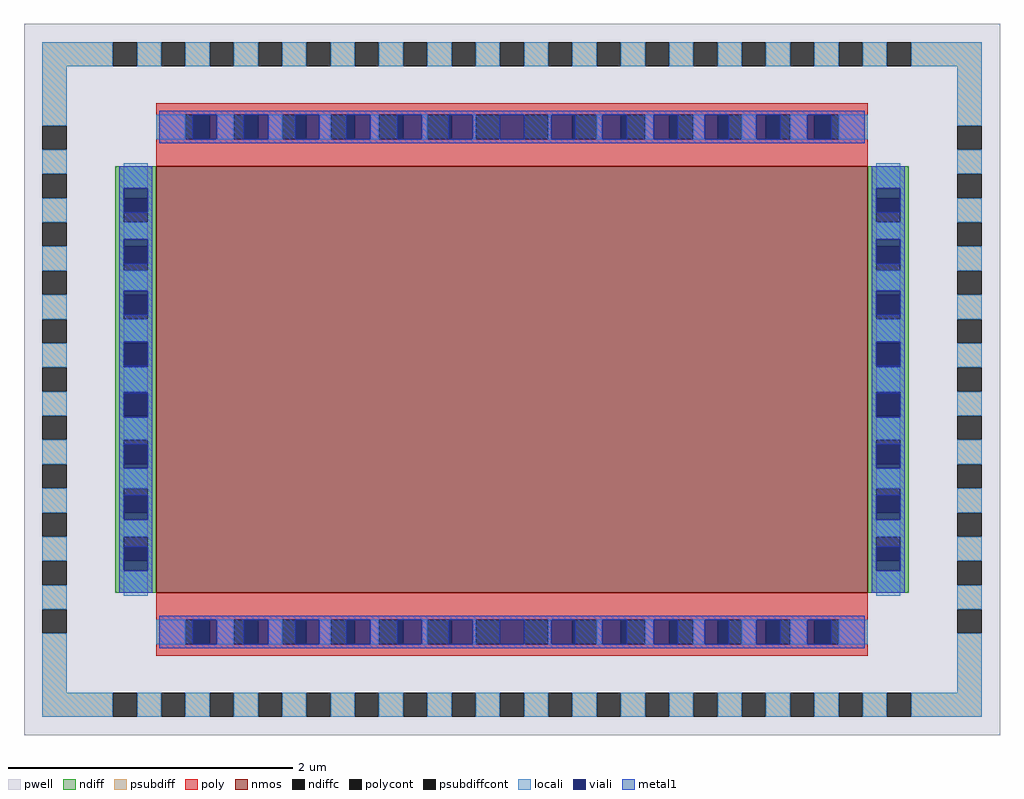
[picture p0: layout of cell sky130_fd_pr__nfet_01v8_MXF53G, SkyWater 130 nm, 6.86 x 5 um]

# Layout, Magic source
magic
tech sky130A
magscale 1 2
<< pwell >>
rect -686 -500 686 500
<< nmos >>
rect -500 -300 500 300
<< ndiff >>
rect -558 255 -500 300
rect -558 221 -546 255
rect -512 221 -500 255
rect -558 187 -500 221
rect -558 153 -546 187
rect -512 153 -500 187
rect -558 119 -500 153
rect -558 85 -546 119
rect -512 85 -500 119
rect -558 51 -500 85
rect -558 17 -546 51
rect -512 17 -500 51
rect -558 -17 -500 17
rect -558 -51 -546 -17
rect -512 -51 -500 -17
rect -558 -85 -500 -51
rect -558 -119 -546 -85
rect -512 -119 -500 -85
rect -558 -153 -500 -119
rect -558 -187 -546 -153
rect -512 -187 -500 -153
rect -558 -221 -500 -187
rect -558 -255 -546 -221
rect -512 -255 -500 -221
rect -558 -300 -500 -255
rect 500 255 558 300
rect 500 221 512 255
rect 546 221 558 255
rect 500 187 558 221
rect 500 153 512 187
rect 546 153 558 187
rect 500 119 558 153
rect 500 85 512 119
rect 546 85 558 119
rect 500 51 558 85
rect 500 17 512 51
rect 546 17 558 51
rect 500 -17 558 17
rect 500 -51 512 -17
rect 546 -51 558 -17
rect 500 -85 558 -51
rect 500 -119 512 -85
rect 546 -119 558 -85
rect 500 -153 558 -119
rect 500 -187 512 -153
rect 546 -187 558 -153
rect 500 -221 558 -187
rect 500 -255 512 -221
rect 546 -255 558 -221
rect 500 -300 558 -255
<< ndiffc >>
rect -546 221 -512 255
rect -546 153 -512 187
rect -546 85 -512 119
rect -546 17 -512 51
rect -546 -51 -512 -17
rect -546 -119 -512 -85
rect -546 -187 -512 -153
rect -546 -255 -512 -221
rect 512 221 546 255
rect 512 153 546 187
rect 512 85 546 119
rect 512 17 546 51
rect 512 -51 546 -17
rect 512 -119 546 -85
rect 512 -187 546 -153
rect 512 -255 546 -221
<< psubdiff >>
rect -660 440 -561 474
rect -527 440 -493 474
rect -459 440 -425 474
rect -391 440 -357 474
rect -323 440 -289 474
rect -255 440 -221 474
rect -187 440 -153 474
rect -119 440 -85 474
rect -51 440 -17 474
rect 17 440 51 474
rect 85 440 119 474
rect 153 440 187 474
rect 221 440 255 474
rect 289 440 323 474
rect 357 440 391 474
rect 425 440 459 474
rect 493 440 527 474
rect 561 440 660 474
rect -660 357 -626 440
rect -660 289 -626 323
rect 626 357 660 440
rect -660 221 -626 255
rect -660 153 -626 187
rect -660 85 -626 119
rect -660 17 -626 51
rect -660 -51 -626 -17
rect -660 -119 -626 -85
rect -660 -187 -626 -153
rect -660 -255 -626 -221
rect -660 -323 -626 -289
rect 626 289 660 323
rect 626 221 660 255
rect 626 153 660 187
rect 626 85 660 119
rect 626 17 660 51
rect 626 -51 660 -17
rect 626 -119 660 -85
rect 626 -187 660 -153
rect 626 -255 660 -221
rect -660 -440 -626 -357
rect 626 -323 660 -289
rect 626 -440 660 -357
rect -660 -474 -561 -440
rect -527 -474 -493 -440
rect -459 -474 -425 -440
rect -391 -474 -357 -440
rect -323 -474 -289 -440
rect -255 -474 -221 -440
rect -187 -474 -153 -440
rect -119 -474 -85 -440
rect -51 -474 -17 -440
rect 17 -474 51 -440
rect 85 -474 119 -440
rect 153 -474 187 -440
rect 221 -474 255 -440
rect 289 -474 323 -440
rect 357 -474 391 -440
rect 425 -474 459 -440
rect 493 -474 527 -440
rect 561 -474 660 -440
<< psubdiffcont >>
rect -561 440 -527 474
rect -493 440 -459 474
rect -425 440 -391 474
rect -357 440 -323 474
rect -289 440 -255 474
rect -221 440 -187 474
rect -153 440 -119 474
rect -85 440 -51 474
rect -17 440 17 474
rect 51 440 85 474
rect 119 440 153 474
rect 187 440 221 474
rect 255 440 289 474
rect 323 440 357 474
rect 391 440 425 474
rect 459 440 493 474
rect 527 440 561 474
rect -660 323 -626 357
rect 626 323 660 357
rect -660 255 -626 289
rect -660 187 -626 221
rect -660 119 -626 153
rect -660 51 -626 85
rect -660 -17 -626 17
rect -660 -85 -626 -51
rect -660 -153 -626 -119
rect -660 -221 -626 -187
rect -660 -289 -626 -255
rect 626 255 660 289
rect 626 187 660 221
rect 626 119 660 153
rect 626 51 660 85
rect 626 -17 660 17
rect 626 -85 660 -51
rect 626 -153 660 -119
rect 626 -221 660 -187
rect 626 -289 660 -255
rect -660 -357 -626 -323
rect 626 -357 660 -323
rect -561 -474 -527 -440
rect -493 -474 -459 -440
rect -425 -474 -391 -440
rect -357 -474 -323 -440
rect -289 -474 -255 -440
rect -221 -474 -187 -440
rect -153 -474 -119 -440
rect -85 -474 -51 -440
rect -17 -474 17 -440
rect 51 -474 85 -440
rect 119 -474 153 -440
rect 187 -474 221 -440
rect 255 -474 289 -440
rect 323 -474 357 -440
rect 391 -474 425 -440
rect 459 -474 493 -440
rect 527 -474 561 -440
<< poly >>
rect -500 372 500 388
rect -500 338 -459 372
rect -425 338 -391 372
rect -357 338 -323 372
rect -289 338 -255 372
rect -221 338 -187 372
rect -153 338 -119 372
rect -85 338 -51 372
rect -17 338 17 372
rect 51 338 85 372
rect 119 338 153 372
rect 187 338 221 372
rect 255 338 289 372
rect 323 338 357 372
rect 391 338 425 372
rect 459 338 500 372
rect -500 300 500 338
rect -500 -338 500 -300
rect -500 -372 -459 -338
rect -425 -372 -391 -338
rect -357 -372 -323 -338
rect -289 -372 -255 -338
rect -221 -372 -187 -338
rect -153 -372 -119 -338
rect -85 -372 -51 -338
rect -17 -372 17 -338
rect 51 -372 85 -338
rect 119 -372 153 -338
rect 187 -372 221 -338
rect 255 -372 289 -338
rect 323 -372 357 -338
rect 391 -372 425 -338
rect 459 -372 500 -338
rect -500 -388 500 -372
<< polycont >>
rect -459 338 -425 372
rect -391 338 -357 372
rect -323 338 -289 372
rect -255 338 -221 372
rect -187 338 -153 372
rect -119 338 -85 372
rect -51 338 -17 372
rect 17 338 51 372
rect 85 338 119 372
rect 153 338 187 372
rect 221 338 255 372
rect 289 338 323 372
rect 357 338 391 372
rect 425 338 459 372
rect -459 -372 -425 -338
rect -391 -372 -357 -338
rect -323 -372 -289 -338
rect -255 -372 -221 -338
rect -187 -372 -153 -338
rect -119 -372 -85 -338
rect -51 -372 -17 -338
rect 17 -372 51 -338
rect 85 -372 119 -338
rect 153 -372 187 -338
rect 221 -372 255 -338
rect 289 -372 323 -338
rect 357 -372 391 -338
rect 425 -372 459 -338
<< locali >>
rect -660 440 -561 474
rect -527 440 -493 474
rect -459 440 -425 474
rect -391 440 -357 474
rect -323 440 -289 474
rect -255 440 -221 474
rect -187 440 -153 474
rect -119 440 -85 474
rect -51 440 -17 474
rect 17 440 51 474
rect 85 440 119 474
rect 153 440 187 474
rect 221 440 255 474
rect 289 440 323 474
rect 357 440 391 474
rect 425 440 459 474
rect 493 440 527 474
rect 561 440 660 474
rect -660 357 -626 440
rect -500 338 -459 372
rect -415 338 -391 372
rect -343 338 -323 372
rect -271 338 -255 372
rect -199 338 -187 372
rect -127 338 -119 372
rect -55 338 -51 372
rect 51 338 55 372
rect 119 338 127 372
rect 187 338 199 372
rect 255 338 271 372
rect 323 338 343 372
rect 391 338 415 372
rect 459 338 500 372
rect 626 357 660 440
rect -660 289 -626 323
rect -660 221 -626 255
rect -660 153 -626 187
rect -660 85 -626 119
rect -660 17 -626 51
rect -660 -51 -626 -17
rect -660 -119 -626 -85
rect -660 -187 -626 -153
rect -660 -255 -626 -221
rect -660 -323 -626 -289
rect -546 269 -512 304
rect -546 197 -512 221
rect -546 125 -512 153
rect -546 53 -512 85
rect -546 -17 -512 17
rect -546 -85 -512 -53
rect -546 -153 -512 -125
rect -546 -221 -512 -197
rect -546 -304 -512 -269
rect 512 269 546 304
rect 512 197 546 221
rect 512 125 546 153
rect 512 53 546 85
rect 512 -17 546 17
rect 512 -85 546 -53
rect 512 -153 546 -125
rect 512 -221 546 -197
rect 512 -304 546 -269
rect 626 289 660 323
rect 626 221 660 255
rect 626 153 660 187
rect 626 85 660 119
rect 626 17 660 51
rect 626 -51 660 -17
rect 626 -119 660 -85
rect 626 -187 660 -153
rect 626 -255 660 -221
rect 626 -323 660 -289
rect -660 -440 -626 -357
rect -500 -372 -459 -338
rect -415 -372 -391 -338
rect -343 -372 -323 -338
rect -271 -372 -255 -338
rect -199 -372 -187 -338
rect -127 -372 -119 -338
rect -55 -372 -51 -338
rect 51 -372 55 -338
rect 119 -372 127 -338
rect 187 -372 199 -338
rect 255 -372 271 -338
rect 323 -372 343 -338
rect 391 -372 415 -338
rect 459 -372 500 -338
rect 626 -440 660 -357
rect -660 -474 -561 -440
rect -527 -474 -493 -440
rect -459 -474 -425 -440
rect -391 -474 -357 -440
rect -323 -474 -289 -440
rect -255 -474 -221 -440
rect -187 -474 -153 -440
rect -119 -474 -85 -440
rect -51 -474 -17 -440
rect 17 -474 51 -440
rect 85 -474 119 -440
rect 153 -474 187 -440
rect 221 -474 255 -440
rect 289 -474 323 -440
rect 357 -474 391 -440
rect 425 -474 459 -440
rect 493 -474 527 -440
rect 561 -474 660 -440
<< viali >>
rect -449 338 -425 372
rect -425 338 -415 372
rect -377 338 -357 372
rect -357 338 -343 372
rect -305 338 -289 372
rect -289 338 -271 372
rect -233 338 -221 372
rect -221 338 -199 372
rect -161 338 -153 372
rect -153 338 -127 372
rect -89 338 -85 372
rect -85 338 -55 372
rect -17 338 17 372
rect 55 338 85 372
rect 85 338 89 372
rect 127 338 153 372
rect 153 338 161 372
rect 199 338 221 372
rect 221 338 233 372
rect 271 338 289 372
rect 289 338 305 372
rect 343 338 357 372
rect 357 338 377 372
rect 415 338 425 372
rect 425 338 449 372
rect -546 255 -512 269
rect -546 235 -512 255
rect -546 187 -512 197
rect -546 163 -512 187
rect -546 119 -512 125
rect -546 91 -512 119
rect -546 51 -512 53
rect -546 19 -512 51
rect -546 -51 -512 -19
rect -546 -53 -512 -51
rect -546 -119 -512 -91
rect -546 -125 -512 -119
rect -546 -187 -512 -163
rect -546 -197 -512 -187
rect -546 -255 -512 -235
rect -546 -269 -512 -255
rect 512 255 546 269
rect 512 235 546 255
rect 512 187 546 197
rect 512 163 546 187
rect 512 119 546 125
rect 512 91 546 119
rect 512 51 546 53
rect 512 19 546 51
rect 512 -51 546 -19
rect 512 -53 546 -51
rect 512 -119 546 -91
rect 512 -125 546 -119
rect 512 -187 546 -163
rect 512 -197 546 -187
rect 512 -255 546 -235
rect 512 -269 546 -255
rect -449 -372 -425 -338
rect -425 -372 -415 -338
rect -377 -372 -357 -338
rect -357 -372 -343 -338
rect -305 -372 -289 -338
rect -289 -372 -271 -338
rect -233 -372 -221 -338
rect -221 -372 -199 -338
rect -161 -372 -153 -338
rect -153 -372 -127 -338
rect -89 -372 -85 -338
rect -85 -372 -55 -338
rect -17 -372 17 -338
rect 55 -372 85 -338
rect 85 -372 89 -338
rect 127 -372 153 -338
rect 153 -372 161 -338
rect 199 -372 221 -338
rect 221 -372 233 -338
rect 271 -372 289 -338
rect 289 -372 305 -338
rect 343 -372 357 -338
rect 357 -372 377 -338
rect 415 -372 425 -338
rect 425 -372 449 -338
<< metal1 >>
rect -496 372 496 378
rect -496 338 -449 372
rect -415 338 -377 372
rect -343 338 -305 372
rect -271 338 -233 372
rect -199 338 -161 372
rect -127 338 -89 372
rect -55 338 -17 372
rect 17 338 55 372
rect 89 338 127 372
rect 161 338 199 372
rect 233 338 271 372
rect 305 338 343 372
rect 377 338 415 372
rect 449 338 496 372
rect -496 332 496 338
rect -552 269 -506 300
rect -552 235 -546 269
rect -512 235 -506 269
rect -552 197 -506 235
rect -552 163 -546 197
rect -512 163 -506 197
rect -552 125 -506 163
rect -552 91 -546 125
rect -512 91 -506 125
rect -552 53 -506 91
rect -552 19 -546 53
rect -512 19 -506 53
rect -552 -19 -506 19
rect -552 -53 -546 -19
rect -512 -53 -506 -19
rect -552 -91 -506 -53
rect -552 -125 -546 -91
rect -512 -125 -506 -91
rect -552 -163 -506 -125
rect -552 -197 -546 -163
rect -512 -197 -506 -163
rect -552 -235 -506 -197
rect -552 -269 -546 -235
rect -512 -269 -506 -235
rect -552 -300 -506 -269
rect 506 269 552 300
rect 506 235 512 269
rect 546 235 552 269
rect 506 197 552 235
rect 506 163 512 197
rect 546 163 552 197
rect 506 125 552 163
rect 506 91 512 125
rect 546 91 552 125
rect 506 53 552 91
rect 506 19 512 53
rect 546 19 552 53
rect 506 -19 552 19
rect 506 -53 512 -19
rect 546 -53 552 -19
rect 506 -91 552 -53
rect 506 -125 512 -91
rect 546 -125 552 -91
rect 506 -163 552 -125
rect 506 -197 512 -163
rect 546 -197 552 -163
rect 506 -235 552 -197
rect 506 -269 512 -235
rect 546 -269 552 -235
rect 506 -300 552 -269
rect -496 -338 496 -332
rect -496 -372 -449 -338
rect -415 -372 -377 -338
rect -343 -372 -305 -338
rect -271 -372 -233 -338
rect -199 -372 -161 -338
rect -127 -372 -89 -338
rect -55 -372 -17 -338
rect 17 -372 55 -338
rect 89 -372 127 -338
rect 161 -372 199 -338
rect 233 -372 271 -338
rect 305 -372 343 -338
rect 377 -372 415 -338
rect 449 -372 496 -338
rect -496 -378 496 -372
<< properties >>
string FIXED_BBOX -642 -456 642 456
<< end >>
